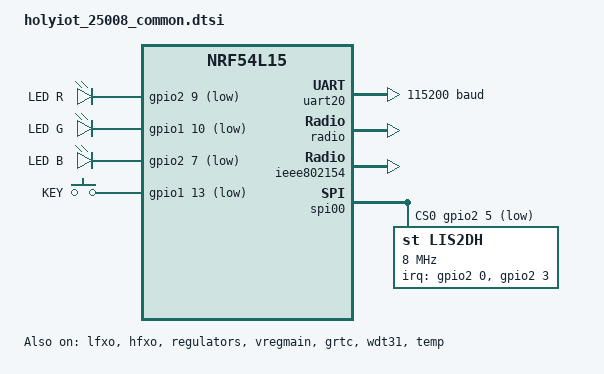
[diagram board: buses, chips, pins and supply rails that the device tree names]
/*
 * SPDX-FileCopyrightText: Copyright (c) 2025 Clunky Machines
 *
 * SPDX-License-Identifier: Apache-2.0
 */

#include "holyiot_25008_nrf54l15-pinctrl.dtsi"

/ {
	leds {
		compatible = "gpio-leds";

		led_red: led_r {
			gpios = <&gpio2 9 GPIO_ACTIVE_LOW>;
			label = "LED R";
		};

		led_green: led_g {
			gpios = <&gpio1 10 GPIO_ACTIVE_LOW>;
			label = "LED G";
		};

		led_blue: led_b {
			gpios = <&gpio2 7 GPIO_ACTIVE_LOW>;
			label = "LED B";
		};
	};

	buttons {
		compatible = "gpio-keys";

		button0: button_0 {
			gpios = <&gpio1 13 (GPIO_PULL_UP | GPIO_ACTIVE_LOW)>;
			label = "KEY";
			zephyr,code = <INPUT_KEY_0>;
		};
	};

	aliases {
		led0 = &led_red;
		led1 = &led_green;
		led2 = &led_blue;
		led0-red = &led_red;
		led0-green = &led_green;
		led0-blue = &led_blue;
		accel0 = &lis2dh;
		sw0 = &button0;
		watchdog0 = &wdt31;
	};
};

&uart20 {
	current-speed = <115200>;
	pinctrl-0 = <&uart20_default>;
	pinctrl-1 = <&uart20_sleep>;
	pinctrl-names = "default", "sleep";
	status = "okay";
};

&cpuapp_sram {
	status = "okay";
};

&lfxo {
	load-capacitors = "internal";
	load-capacitance-femtofarad = <16000>;
	status = "okay";
};

&hfxo {
	load-capacitors = "internal";
	load-capacitance-femtofarad = <15000>;
	status = "okay";
};

&regulators {
	status = "okay";
};

&vregmain {
	status = "okay";
	regulator-initial-mode = <NRF5X_REG_MODE_DCDC>;
};

&grtc {
	owned-channels = <0 1 2 3 4 5 6 7 8 9 10 11>;
	/* Channels 7-11 reserved for Zero Latency IRQs, 3-4 for FLPR */
	child-owned-channels = <3 4 7 8 9 10 11>;
	status = "okay";
};

&gpio0 {
	status = "okay";
};

&gpio1 {
	status = "okay";
};

&gpio2 {
	status = "okay";
};

&gpiote20 {
	status = "okay";
};

&gpiote30 {
	status = "okay";
};

&wdt31 {
	status = "okay";
};

&radio {
	status = "okay";
};

&ieee802154 {
	status = "okay";
};

&temp {
	status = "okay";
};

&clock {
	status = "okay";
};

&spi00 {
	status = "okay";
	cs-gpios = <&gpio2 5 GPIO_ACTIVE_LOW>;
	pinctrl-0 = <&spi00_default>;
	pinctrl-1 = <&spi00_sleep>;
	pinctrl-names = "default", "sleep";

	lis2dh: lis2dh@0 {
		compatible = "st,lis2dh", "st,lis2dh12";
		reg = <0>;
		spi-max-frequency = <8000000>;
		irq-gpios = <&gpio2 0 GPIO_ACTIVE_HIGH>, <&gpio2 3 GPIO_ACTIVE_HIGH>;
		status = "okay";
	};
};
